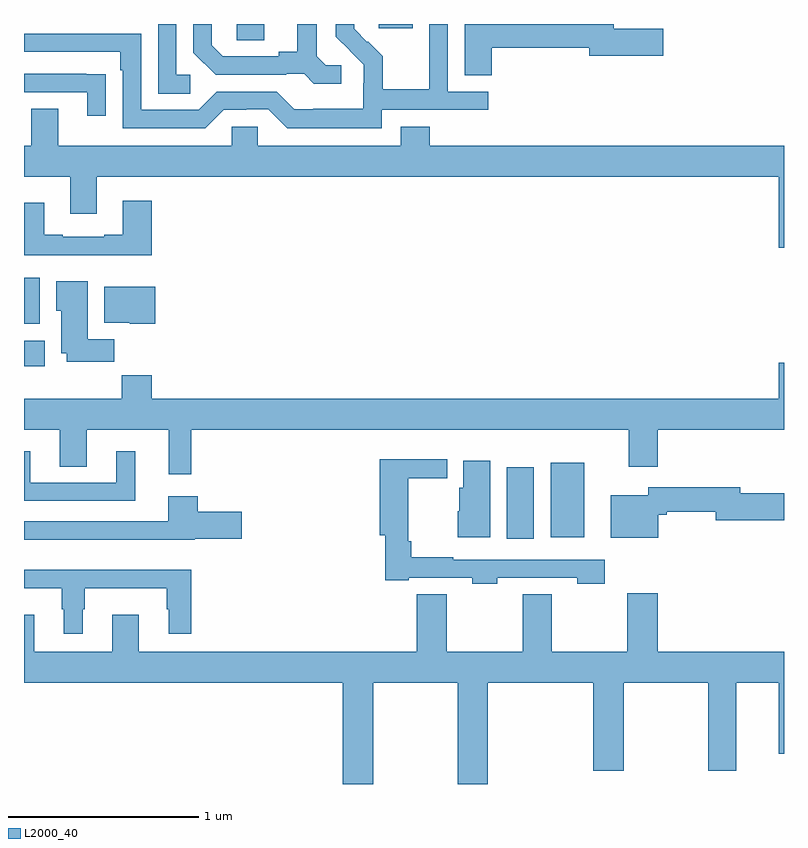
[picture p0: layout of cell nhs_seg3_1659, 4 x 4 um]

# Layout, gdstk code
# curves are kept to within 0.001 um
import gdstk
lib = gdstk.Library(unit=1e-6, precision=1e-09)
def R(c, l, rs):  # rectangles x0, y0, x1, y1
    for r in rs: c.add(gdstk.rectangle(r[:2], r[2:], *l))
def P(c, l, *ps):  # polygons
    for p in ps: c.add(gdstk.Polygon(p, *l))
L2000_40 = (2000, 40)

nhs_seg3_1659 = lib.new_cell('nhs_seg3_1659')
R(nhs_seg3_1659, L2000_40, [(199.541,685.692,199.684,686.068), (199.772,685.7,199.948,686.092), (197,686.6,197.11,686.734), (197,686.822,197.083,687.064), (198.12,688.315,198.265,688.4), (198.866,688.377,199.045,688.4)])
P(nhs_seg3_1659, L2000_40, [(199.463,688.276),(199.976,688.276),(199.976,688.234),(200.365,688.234),(200.365,688.376),(200.104,688.376),(200.104,688.4),(199.319,688.4),(199.319,688.129),(199.463,688.129)],
  [(198.882,687.948),(199.444,687.948),(199.444,688.044),(199.23,688.044),(199.23,688.4),(199.134,688.4),(199.134,688.28),(199.132,688.28),(199.132,688.057),(198.887,688.057),(198.887,688.231),(198.81,688.308),(198.807,688.305),(198.737,688.376),(198.737,688.4),(198.642,688.4),(198.642,688.334),(198.788,688.186),(198.788,688.089),(198.786,688.089),(198.786,687.955),(198.523,687.955),(198.523,687.951),(198.423,687.951),(198.33,688.044),(198.015,688.044),(197.919,687.948),(197.616,687.948),(197.616,688.35),(197,688.35),(197,688.254),(197.507,688.254),(197.507,688.157),(197.52,688.157),(197.52,687.852),(197.955,687.852),(198.051,687.948),(198.17,687.948),(198.17,687.951),(198.285,687.951),(198.385,687.851),(198.882,687.851)],
  [(197.875,688.134),(197.802,688.134),(197.802,688.4),(197.706,688.4),(197.706,688.033),(197.875,688.033)],
  [(198.67,688.182),(198.588,688.182),(198.541,688.229),(198.541,688.4),(198.437,688.4),(198.437,688.253),(198.341,688.253),(198.341,688.23),(198.046,688.23),(197.989,688.287),(197.989,688.4),(197.892,688.4),(197.892,688.25),(198.008,688.134),(198.38,688.134),(198.38,688.137),(198.474,688.137),(198.526,688.085),(198.67,688.085)],
  [(197.429,688.136),(197.327,688.136),(197.327,688.137),(197,688.137),(197,688.041),(197.333,688.041),(197.333,687.918),(197.429,687.918)],
  [(198.983,687.859),(198.983,687.76),(198.231,687.76),(198.231,687.858),(198.093,687.858),(198.093,687.76),(197.179,687.76),(197.179,687.955),(197.039,687.955),(197.039,687.76),(197,687.76),(197,687.596),(197.243,687.596),(197.243,687.402),(197.383,687.402),(197.383,687.596),(200.972,687.596),(200.972,687.222),(201,687.222),(201,687.76),(199.136,687.76),(199.136,687.859)],
  [(197.672,687.469),(197.519,687.469),(197.519,687.292),(197.423,687.292),(197.423,687.279),(197.203,687.279),(197.203,687.292),(197.107,687.292),(197.107,687.46),(197,687.46),(197,687.182),(197.672,687.182)],
  [(197.474,686.74),(197.335,686.74),(197.335,687.046),(197.171,687.046),(197.171,686.892),(197.195,686.892),(197.195,686.666),(197.225,686.666),(197.225,686.622),(197.474,686.622)],
  [(197.692,687.016),(197.423,687.016),(197.423,686.828),(197.556,686.828),(197.556,686.822),(197.692,686.822)],
  [(197.879,686.264),(200.183,686.264),(200.183,686.07),(200.336,686.07),(200.336,686.264),(201,686.264),(201,686.617),(200.972,686.617),(200.972,686.428),(197.672,686.428),(197.672,686.552),(197.515,686.552),(197.515,686.428),(197,686.428),(197,686.264),(197.189,686.264),(197.189,686.071),(197.329,686.071),(197.329,686.264),(197.762,686.264),(197.762,686.031),(197.879,686.031)],
  [(197.585,686.152),(197.486,686.152),(197.486,685.986),(197.032,685.986),(197.032,686.152),(197,686.152),(197,685.89),(197.585,685.89)],
  [(199.491,685.485),(199.911,685.485),(199.911,685.453),(200.056,685.453),(200.056,685.581),(199.259,685.581),(199.259,685.594),(199.037,685.594),(199.037,685.678),(199.022,685.678),(199.022,686.008),(199.228,686.008),(199.228,686.11),(198.872,686.11),(198.872,685.709),(198.901,685.709),(198.901,685.473),(199.024,685.473),(199.024,685.485),(199.359,685.485),(199.359,685.453),(199.491,685.453)],
  [(199.453,686.101),(199.313,686.101),(199.313,685.959),(199.292,685.959),(199.292,685.836),(199.283,685.836),(199.283,685.7),(199.453,685.7)],
  [(200.338,685.817),(200.383,685.817),(200.383,685.834),(200.642,685.834),(200.642,685.787),(201,685.787),(201,685.929),(200.77,685.929),(200.77,685.963),(200.285,685.963),(200.285,685.92),(200.087,685.92),(200.087,685.697),(200.338,685.697)],
  [(197.898,685.691),(198.145,685.691),(198.145,685.833),(197.915,685.833),(197.915,685.915),(197.759,685.915),(197.759,685.782),(197,685.782),(197,685.685),(197.898,685.685)],
  [(197.308,685.319),(197.32,685.319),(197.32,685.43),(197.751,685.43),(197.751,685.319),(197.762,685.319),(197.762,685.191),(197.879,685.191),(197.879,685.528),(197,685.528),(197,685.43),(197.199,685.43),(197.199,685.319),(197.21,685.319),(197.21,685.191),(197.308,685.191)],
  [(200.176,685.405),(200.176,685.096),(199.778,685.096),(199.778,685.4),(199.624,685.4),(199.624,685.096),(199.226,685.096),(199.226,685.4),(199.067,685.4),(199.067,685.096),(197.605,685.096),(197.605,685.291),(197.465,685.291),(197.465,685.096),(197.053,685.096),(197.053,685.291),(197,685.291),(197,684.932),(198.677,684.932),(198.677,684.4),(198.837,684.4),(198.837,684.932),(199.282,684.932),(199.282,684.4),(199.442,684.4),(199.442,684.932),(199.997,684.932),(199.997,684.471),(200.157,684.471),(200.157,684.932),(200.602,684.932),(200.602,684.471),(200.749,684.471),(200.749,684.932),(200.972,684.932),(200.972,684.558),(201,684.558),(201,685.096),(200.336,685.096),(200.336,685.405)])

lib.write_gds('nhs_seg3_1659.gds')
